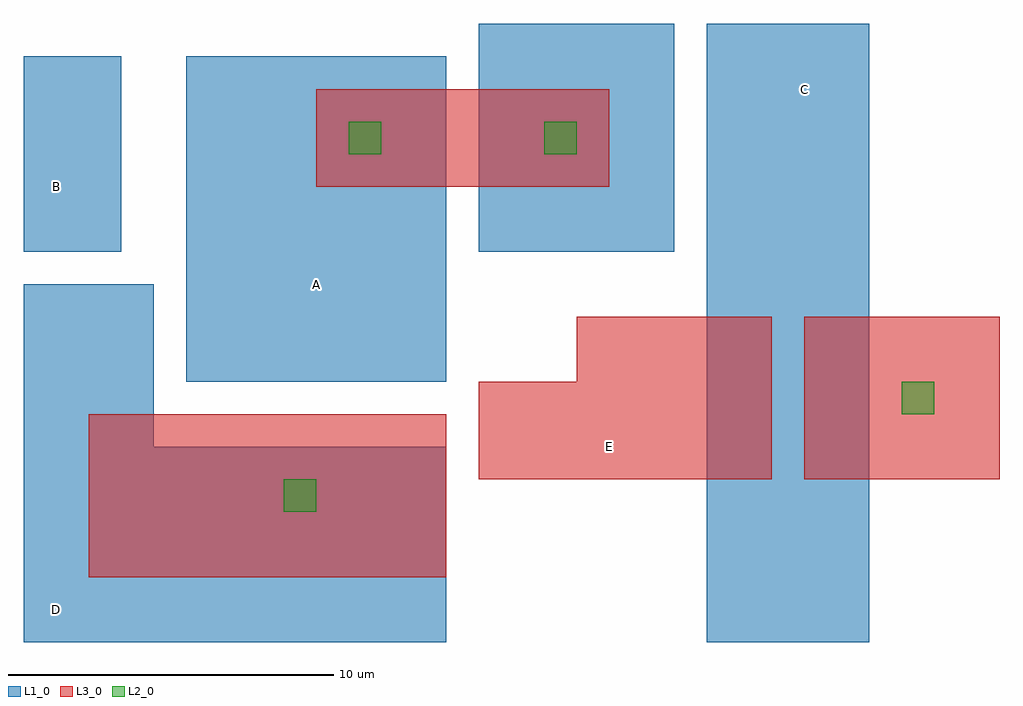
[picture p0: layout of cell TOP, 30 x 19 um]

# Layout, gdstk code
import gdstk
lib = gdstk.Library(unit=1e-6, precision=1e-09)
def R(c, l, rs):  # rectangles x0, y0, x1, y1
    for r in rs: c.add(gdstk.rectangle(r[:2], r[2:], *l))
L1_0 = (1, 0)
L2_0 = (2, 0)
L3_0 = (3, 0)
L100_0 = (100, 0)

top = lib.new_cell('TOP')
R(top, L1_0, [(-15,-10,-11,1), (-11,-10,-2,-4), (6,-10,11,9), (-10,-2,-2,8), (-15,2,-12,8), (-1,2,5,9)])
R(top, L2_0, [(-7,-6,-6,-5), (12,-3,13,-2), (-5,5,-4,6), (1,5,2,6)])
R(top, L3_0, [(-13,-8,-2,-3), (-1,-5,8,-2), (9,-5,15,0), (2,-2,8,0), (-6,4,3,7)])
top.add(gdstk.FlexPath([(-8.5,-4.5),(2,5.5)], 0, ends="flush", simple_path=True, layer=100, datatype=0))  # L100_0
top.add(gdstk.FlexPath([(-8.5,-4.5),(-6,3)], 0, ends="flush", simple_path=True, layer=100, datatype=0))  # L100_0
top.add(gdstk.FlexPath([(-13.5,5),(-8.5,-4.5)], 0, ends="flush", simple_path=True, layer=100, datatype=0))  # L100_0
top.add(gdstk.FlexPath([(8.5,-0.5),(2,5.5)], 0, ends="flush", simple_path=True, layer=100, datatype=0))  # L100_0
top.add(gdstk.FlexPath([(2,5.5),(-8.5,-4.5)], 0, ends="flush", simple_path=True, layer=100, datatype=0))  # L100_0
top.add(gdstk.FlexPath([(2,5.5),(8.5,-0.5)], 0, ends="flush", simple_path=True, layer=100, datatype=0))  # L100_0
top.add(gdstk.FlexPath([(2,5.5),(-6,3)], 0, ends="flush", simple_path=True, layer=100, datatype=0))  # L100_0
top.add(gdstk.FlexPath([(-8.5,-4.5),(-13.5,5)], 0, ends="flush", simple_path=True, layer=100, datatype=0))  # L100_0
top.add(gdstk.FlexPath([(-6,3),(-8.5,-4.5)], 0, ends="flush", simple_path=True, layer=100, datatype=0))  # L100_0
top.add(gdstk.FlexPath([(-6,3),(2,5.5)], 0, ends="flush", simple_path=True, layer=100, datatype=0))  # L100_0
top.add(gdstk.Label('A', (-6,1), layer=1, texttype=0))
top.add(gdstk.Label('B', (-14,4), layer=1, texttype=0))
top.add(gdstk.Label('C', (9,7), layer=1, texttype=0))
top.add(gdstk.Label('D', (-14,-9), layer=1, texttype=0))
top.add(gdstk.Label('E', (3,-4), layer=3, texttype=0))

lib.write_gds('TOP.gds')
